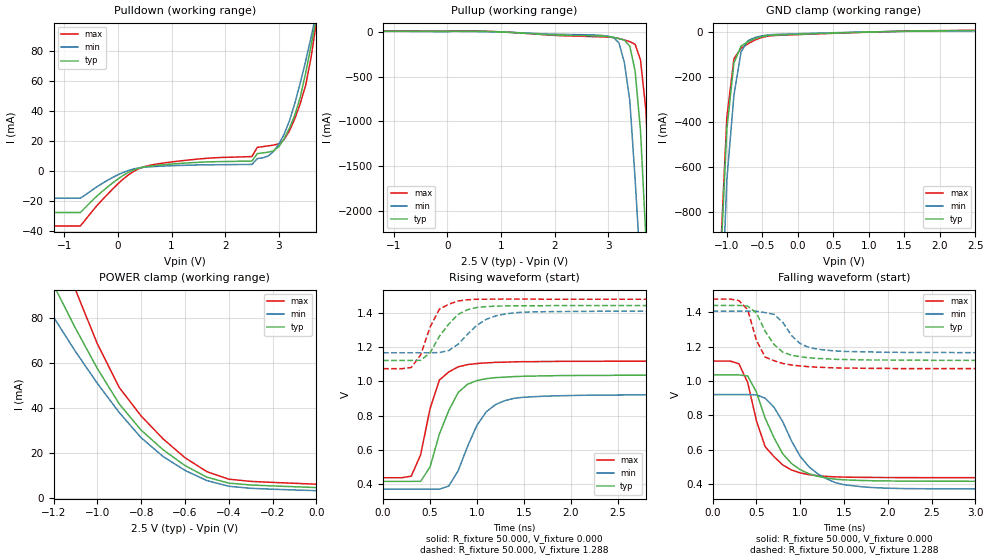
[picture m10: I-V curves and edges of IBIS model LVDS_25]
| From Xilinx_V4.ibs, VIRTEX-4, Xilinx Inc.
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|   Model LVDS_25
[Model]   LVDS_25
Model_type   I/O
Polarity   Non-Inverting
Enable   Active-Low
Vinh = 1.4V
Vinl = 1.0V
Vmeas =   1.2000V
Cref =  0.000F
Rref =  50.0000
Vref =   1.2000V
C_comp   8.0000pF   8.0000pF   8.0000pF
[Temperature Range]   25.0000   85.0000   0.000
[Voltage Range]   2.5000V   2.3800V   2.6200V
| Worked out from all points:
|   slope of the pulldown table from 0 to 0.375 V, typ, clamps not added: 53.6 ohm
|   rising waveform, R_fixture 50.000, V_fixture 0.000: 20-80 % time 258ps typ, 285ps min, 184ps max; typ from 0.416 V to 1.04 V
|   rising waveform, R_fixture 50.000, V_fixture 1.288: 20-80 % time 257ps typ, 300ps min, 177ps max; typ from 1.12 V to 1.44 V
|   falling waveform, R_fixture 50.000, V_fixture 0.000: 20-80 % time 349ps typ, 405ps min, 273ps max; typ from 1.04 V to 0.416 V
|   falling waveform, R_fixture 50.000, V_fixture 1.288: 20-80 % time 246ps typ, 252ps min, 175ps max; typ from 1.44 V to 1.12 V
[Pulldown]
| voltage   I(typ)   I(min)   I(max)
-2.5V     -27.42mA   -17.91mA   -36.36mA
-700mV    -27.42mA   -17.91mA   -36.36mA
400mV     2.119mA    2.248mA    1.844mA
2.5V      6.76mA     4.483mA    9.746mA
2.6V      11.71mA    8.38mA     15.84mA
2.9V      13.48mA    13.02mA    17.31mA
3.2V      28.58mA    33.48mA    26.83mA
3.4V      49.1mA     58.48mA    44.85mA
3.5V      64.94mA    72.95mA    56.88mA
3.6V      82.93mA    88.57mA    74.98mA
3.7V      102.3mA    105.4mA    98.52mA
5V        434.2mA    382.6mA    523.5mA
[Pullup]
| voltage   I(typ)   I(min)   I(max)
-2.5V     15.6mA     14.3mA     13.1mA
700mV     2.551mA    636.8uA    5.114mA
3V        -54.41mA   -50.91mA   -60.45mA
3.1V      -63.79mA   -65.46mA   -65.72mA
3.2V      -76.87mA   -127.8mA   -76.66mA
3.3V      -94.79mA   -347.2mA   -92.15mA
3.4V      -160.3mA   -765.9mA   -110.9mA
3.5V      -440.3mA   -1.648A    -141.3mA
3.6V      -1.106A    -2.645A    -316.8mA
3.7V      -2.294A    -3.659A    -871.2mA
3.8V      -3.513A    -4.682A    -2.148A
5V        -18.64A    -17.21A    -19.93A
[GND_clamp]
| voltage   I(typ)   I(min)   I(max)
-2.5V     -18.64A    -15.95A    -21.74A
-1.1V     -1.101A    -1.448A    -1.054A
-1V       -431.4mA   -655.2mA   -379.2mA
-900mV    -139.2mA   -280.6mA   -120.2mA
-800mV    -64.11mA   -90.03mA   -74.18mA
-700mV    -44.8mA    -39.45mA   -53.63mA
-600mV    -31.18mA   -26.18mA   -36.96mA
-500mV    -21.63mA   -18.47mA   -24.93mA
-300mV    -15.23mA   -12.64mA   -17.03mA
1.4V      740uA      485.1uA    900.7uA
2.5V      4.54mA     3.532mA    5.624mA
[POWER_clamp]
| voltage   I(typ)   I(min)   I(max)
-2.5V     424.7mA    346.1mA    553.1mA
-1.3V     115.4mA    97.05mA    146.7mA
-1.2V     94.86mA    80.54mA    118.9mA
-1.1V     75.55mA    65.2mA     92.7mA
-1V       57.61mA    50.98mA    68.62mA
-900mV    41.83mA    37.97mA    49.15mA
-800mV    30.11mA    26.75mA    36.43mA
-700mV    21.41mA    18.37mA    26.26mA
-600mV    14.35mA    12.2mA     17.86mA
-500mV    9.177mA    7.661mA    11.63mA
-400mV    6.505mA    5.118mA    8.281mA
0V        4.54mA     3.152mA    6.036mA
[Ramp]
| variable   typ   min   max
dV/dt_r   0.3881/0.2168n   0.3399/0.2789n   0.4272/0.1771n
dV/dt_f   0.1308/0.1055n   99.0000m/0.1349n   0.1674/92.1855p
R_load = 50.0000
[Rising Waveform]
R_fixture = 50.000
V_fixture = 0.000
|  time   V(typ)   V(min)   V(max)
0s        416.1mV    370.7mV    437.4mV
300ps     416.1mV    370.7mV    446.4mV
400ps     416.2mV    370.7mV    571.1mV
500ps     499.5mV    370.6mV    839.3mV
600ps     692.3mV    370.6mV    1.007V
800ps     934.4mV    478.1mV    1.084V
1ns       1.004V     743.4mV    1.103V
1.1ns     1.015V     821.9mV    1.107V
1.4ns     1.027V     900.7mV    1.113V
5ns       1.036V     921.7mV    1.117V
[Rising Waveform]
R_fixture = 50.000
V_fixture = 1.288
V_fixture_min = 1.291
V_fixture_max = 1.292
|  time   V(typ)   V(min)   V(max)
0s        1.121V     1.166V     1.073V
300ps     1.121V     1.166V     1.08V
400ps     1.122V     1.166V     1.153V
500ps     1.165V     1.166V     1.315V
600ps     1.262V     1.167V     1.42V
800ps     1.39V      1.216V     1.468V
1ns       1.43V      1.327V     1.478V
1.1ns     1.435V     1.361V     1.478V
1.4ns     1.44V      1.399V     1.479V
5ns       1.441V     1.408V     1.478V
[Falling Waveform]
R_fixture = 50.000
V_fixture = 0.000
|  time   V(typ)   V(min)   V(max)
0s        1.036V     921.7mV    1.117V
300ps     1.036V     921.7mV    1.101V
400ps     1.03V      921.6mV    991.4mV
500ps     936.2mV    919.9mV    768.9mV
600ps     783.5mV    900.2mV    617.6mV
800ps     576.5mV    763.8mV    511.7mV
1ns       483.9mV    561.7mV    465.3mV
1.3ns     435.9mV    431.3mV    445mV
1.7ns     421.3mV    384.8mV    439.5mV
5ns       416.1mV    370.7mV    437.4mV
[Falling Waveform]
R_fixture = 50.000
V_fixture = 1.288
V_fixture_min = 1.291
V_fixture_max = 1.292
|  time   V(typ)   V(min)   V(max)
0s        1.441V     1.408V     1.478V
300ps     1.441V     1.408V     1.469V
400ps     1.437V     1.408V     1.416V
500ps     1.397V     1.407V     1.237V
600ps     1.29V      1.399V     1.14V
700ps     1.214V     1.389V     1.119V
900ps     1.151V     1.266V     1.094V
1.1ns     1.136V     1.196V     1.084V
1.5ns     1.126V     1.173V     1.076V
5ns       1.121V     1.166V     1.073V
